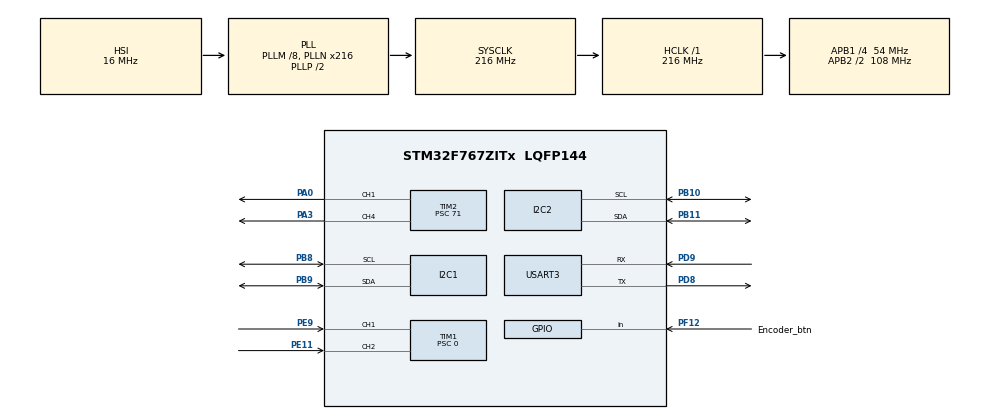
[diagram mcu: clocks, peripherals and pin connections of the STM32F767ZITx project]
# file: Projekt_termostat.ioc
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CORTEX_M7.default_mode_Activation=1
I2C1.Timing=0x20404768
I2C2.Timing=0x20404768
Mcu.Family=STM32F7
Mcu.Name=STM32F767ZITx
Mcu.Package=LQFP144
NVIC.PriorityGroup=NVIC_PRIORITYGROUP_4
NVIC.TIM6_DAC_IRQn=true\:15\:0\:false\:false\:true\:false\:true\:true
NVIC.TimeBase=TIM6_DAC_IRQn
NVIC.TimeBaseIP=TIM6
NVIC.USART3_IRQn=true\:0\:0\:false\:false\:true\:true\:true\:true
PA0/WKUP.Signal=S_TIM2_CH1_ETR
PA3.Signal=S_TIM2_CH4
PB10.GPIO_Pu=GPIO_PULLUP
PB10.Mode=I2C
PB10.Signal=I2C2_SCL
PB11.GPIO_Pu=GPIO_PULLUP
PB11.Mode=I2C
PB11.Signal=I2C2_SDA
PB3.Signal=SYS_JTDO-SWO
PB8.Mode=I2C
PB8.Signal=I2C1_SCL
PB9.Mode=I2C
PB9.Signal=I2C1_SDA
PD8.Mode=Asynchronous
PD8.Signal=USART3_TX
PD9.Mode=Asynchronous
PD9.Signal=USART3_RX
PE11.GPIO_PuPd=GPIO_PULLUP
PE11.Signal=S_TIM1_CH2
PE9.GPIO_PuPd=GPIO_PULLUP
PE9.Signal=S_TIM1_CH1
PF12.GPIO_Label=Encoder_btn
PF12.GPIO_PuPd=GPIO_NOPULL
PF12.Signal=GPIO_Input
PH0/OSC_IN.Mode=HSE-External-Clock-Source
PH0/OSC_IN.Signal=RCC_OSC_IN
PH1/OSC_OUT.Mode=HSE-External-Clock-Source
PH1/OSC_OUT.Signal=RCC_OSC_OUT
ProjectManager.HeapSize=0x200
ProjectManager.StackSize=0x400
ProjectManager.TargetToolchain=STM32CubeIDE
RCC.AHBFreq_Value=216000000
RCC.APB1CLKDivider=RCC_HCLK_DIV4
RCC.APB1Freq_Value=54000000
RCC.APB1TimFreq_Value=108000000
RCC.APB2CLKDivider=RCC_HCLK_DIV2
RCC.APB2Freq_Value=108000000
RCC.APB2TimFreq_Value=216000000
RCC.CortexFreq_Value=216000000
RCC.FLatency-AdvancedSettings=FLASH_LATENCY_7
RCC.HCLKFreq_Value=216000000
RCC.HSE_VALUE=8000000
RCC.HSI_VALUE=16000000
RCC.LSE_VALUE=32768
RCC.PLLM=8
RCC.PLLN=216
RCC.SYSCLKFreq_VALUE=216000000
RCC.SYSCLKSource=RCC_SYSCLKSOURCE_PLLCLK
RCC.USBFreq_Value=216000000
RCC.VCOOutputFreq_Value=432000000
SH.S_TIM1_CH1.0=TIM1_CH1,Encoder_Interface
SH.S_TIM1_CH2.0=TIM1_CH2,Encoder_Interface
SH.S_TIM2_CH1_ETR.0=TIM2_CH1,PWM Generation1 CH1
SH.S_TIM2_CH4.0=TIM2_CH4,PWM Generation4 CH4
TIM1.EncoderMode=TIM_ENCODERMODE_TI12
TIM1.IC1Filter=15
TIM1.IC2Filter=15
TIM1.Prescaler=0
TIM2.Channel-PWM\ Generation1\ CH1=TIM_CHANNEL_1
TIM2.Channel-PWM\ Generation4\ CH4=TIM_CHANNEL_4
TIM2.Period=4999
TIM2.Prescaler=71
USART3.VirtualMode-Asynchronous=VM_ASYNC
VP_SYS_VS_tim6.Mode=TIM6
VP_TIM2_VS_ClockSourceINT.Mode=Internal
board=custom

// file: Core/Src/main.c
/* USER CODE BEGIN Header */
/**
  ******************************************************************************
  * @file           : main.c
  * @brief          : Main program body
  ******************************************************************************
  * @attention
  *
  * Copyright (c) 2026 STMicroelectronics.
  * All rights reserved.
  *
  ******************************************************************************
  */
/* USER CODE END Header */
#include "main.h"

/* USER CODE BEGIN Includes */
#include "bmp280.h"
#include <stdio.h>
#include <stdlib.h>
#include <string.h>
#include "heater.h"
#include "pid_controller.h"
#include "fan.h"
#include "encoder_logic.h"
#include "pid_cooling.h"
#include "i2c-lcd.h"
/* USER CODE END Includes */

/* USER CODE BEGIN PD */
#define LOOP_TIME_MS 100  // Czas cyklu pętli sterowania (10Hz)
/* USER CODE END PD */

I2C_HandleTypeDef hi2c1;
I2C_HandleTypeDef hi2c2;

TIM_HandleTypeDef htim1;
TIM_HandleTypeDef htim2;

UART_HandleTypeDef huart3;

/* USER CODE BEGIN PV */

// --- Urządzenia i Struktury ---
BMP280_HandleTypedef bmp280;
Heater_TypeDef myHeater;
Fan_TypeDef myFan;
UI_StateTypeDef myEncoder;

// --- Kontrolery PID ---
PID_TypeDef hPID;          // Grzanie
PID_Cooling_TypeDef hPID_Cool; // Chłodzenie

// Nastawy PID Grzania
float Kp = 1500.0f;
float Ki = 1.2f;
float Kd = 2850.0f;

// Nastawy PID Chłodzenia
float Kp_c = 600.0f;
float Ki_c = 0.3f;
float Kd_c = 2500.0f;

// --- Zmienne Procesowe ---
float pressure, actual_temp, humidity;
float heating_power;
float sterowanie_fan;
float temp_min = 25.0f;
float temp_max = 38.0f;

int fan_percent;
int heater_percent;

// --- Komunikacja UART ---
uint16_t size;
uint8_t Data[256];      // Bufor nadawczy
uint8_t rx_byte;        // Znak odbierany w przerwaniu
uint8_t rx_buffer[32];  // Bufor komendy
uint8_t rx_index = 0;
volatile uint8_t line_received = 0;

/* USER CODE END PV */

void SystemClock_Config(void);
static void MPU_Config(void);
static void MX_GPIO_Init(void);
static void MX_I2C1_Init(void);
static void MX_USART3_UART_Init(void);
static void MX_TIM2_Init(void);
static void MX_TIM1_Init(void);
static void MX_I2C2_Init(void);
/* USER CODE BEGIN PFP */
uint16_t Calculate_CRC16(uint8_t *data, uint16_t len);
/* USER CODE END PFP */

int main(void)
{

  /* MPU Configuration--------------------------------------------------------*/
  MPU_Config();

  /* MCU Configuration--------------------------------------------------------*/

  /* Reset of all peripherals, Initializes the Flash interface and the Systick. */
  HAL_Init();

  /* Configure the system clock */
  SystemClock_Config();

  /* Initialize all configured peripherals */
  MX_GPIO_Init();
  MX_I2C1_Init();
  MX_USART3_UART_Init();
  MX_TIM2_Init();
  MX_TIM1_Init();
  MX_I2C2_Init();
  /* USER CODE BEGIN 2 */

  // --- Inicjalizacja BMP280 ---
  bmp280_init_default_params(&bmp280.params);
  bmp280.addr = BMP280_I2C_ADDRESS_0;
  bmp280.i2c = &hi2c1;

  while (!bmp280_init(&bmp280, &bmp280.params)) {
      size = sprintf((char *)Data, "BMP280 initialization failed\n");
      HAL_UART_Transmit(&huart3, Data, size, 1000);
      HAL_Delay(2000);
  }

  // --- Inicjalizacja Podzespołów Wykonawczych ---
  Heater_Init(&myHeater, &htim2, TIM_CHANNEL_1, 5000.0f);
  Fan_Init(&myFan, &htim2, TIM_CHANNEL_4, 5000.0f);

  // --- Inicjalizacja Kontrolerów ---
  PID_Init(&hPID, 2200.0f);
  PID_Cooling_Init(&hPID_Cool, 5000.0f);

  // --- Inicjalizacja Interfejsu ---
  HAL_TIM_Encoder_Start(&htim1, TIM_CHANNEL_ALL);
  EncoderInit(&myEncoder, &htim1, Encoder_btn_GPIO_Port, Encoder_btn_Pin, 25.0f, 0.10f, temp_min, temp_max);

  lcd_init();
  lcd_clear();

  // Statyczne napisy na LCD
  lcd_put_cur(0, 0);
  lcd_send_string("T:");
  lcd_put_cur(1, 0);
  lcd_send_string("S:");

  char lcd_buffer[16];

  // Start nasłuchu UART
  HAL_UART_Receive_IT(&huart3, &rx_byte, 1);

  uint32_t loop_timer = HAL_GetTick();

  /* USER CODE END 2 */

  /* Infinite loop */
  while (1)
  {

    /* USER CODE BEGIN 3 */

      // =================================================================
      // OBSŁUGA KOMEND UART
      // =================================================================
      if (line_received) {
          // Kopia bufora i zamiana na DUŻE LITERY
          char clean_cmd[32];
          strcpy(clean_cmd, (char*)rx_buffer);

          for(int i=0; i<strlen(clean_cmd); i++) {
              if(clean_cmd[i] >= 'a' && clean_cmd[i] <= 'z') {
                  clean_cmd[i] -= 32;
              }
          }

          // Szukamy separatora '*' (CRC)
          char *separator = strrchr(clean_cmd, '*');
          uint8_t command_valid = 0;

          if (separator != NULL) {
              // Rozdzielenie komendy i CRC
              *separator = '\0';
              char *crc_part = separator + 1;

              uint16_t calc_crc = Calculate_CRC16((uint8_t*)clean_cmd, strlen(clean_cmd));
              uint16_t recv_crc = (uint16_t)strtol(crc_part, NULL, 16);

              if (calc_crc == recv_crc) {
                  command_valid = 1;
              }
          }

          // Wykonanie komendy
          if (command_valid) {
              if (clean_cmd[0] == 'T') {
                  int raw_val = atoi(&clean_cmd[1]);
                  float new_set_temp = (float)raw_val / 10.0f;

                  if (new_set_temp >= temp_min && new_set_temp <= temp_max) {
                      myEncoder.set_temp = new_set_temp;
                      // Przeliczenie licznika enkodera
                      uint32_t new_counter = (uint32_t)(new_set_temp / 0.10f * 4.0f);
                      __HAL_TIM_SET_COUNTER(&htim1, new_counter);

                      size = sprintf((char *)Data, "CMD OK: Set %.2f C\r\n", new_set_temp);
                  } else {
                      size = sprintf((char *)Data, "CMD ERROR: Range %.1f-%.1f\r\n", temp_min, temp_max);
                  }
              }
              else if (strcmp(clean_cmd, "ON") == 0) {
                  myEncoder.isHeatingEnabled = 1;
                  size = sprintf((char *)Data, "CMD OK: ON\r\n");
              }
              else if (strcmp(clean_cmd, "OFF") == 0) {
                  myEncoder.isHeatingEnabled = 0;
                  size = sprintf((char *)Data, "CMD OK: OFF\r\n");
              }
              else {
                  size = sprintf((char *)Data, "UNKNOWN CMD: [%s]\r\n", clean_cmd);
              }
              HAL_UART_Transmit(&huart3, Data, size, 100);
          }

          // Reset bufora odbiorczego
          line_received = 0;
          memset(rx_buffer, 0, sizeof(rx_buffer));
      }

      // =================================================================
      // PĘTLA STEROWANIA
      // =================================================================
      if (HAL_GetTick() - loop_timer >= LOOP_TIME_MS)
      {
          loop_timer = HAL_GetTick();

          // Odczyt BMP280
          if (!bmp280_read_float(&bmp280, &actual_temp, &pressure, &humidity)) {

          }

          // Obsługa Enkodera (zmiany ręczne)
          EncoderUpdate(&myEncoder);

          // Logika Sterowania (PID)
          if (myEncoder.isHeatingEnabled) {

              // PID Grzania
              heating_power = PID_Calculate(&hPID, myEncoder.set_temp, actual_temp, Kp, Ki, Kd);
              Heater_SetPower(&myHeater, heating_power);

              // PID Chłodzenia
              sterowanie_fan = PID_Cooling_Calculate(&hPID_Cool, myEncoder.set_temp, actual_temp, Kp_c, Ki_c, Kd_c);

              // Minimalne obroty wentylatora (kick-start)
              if (sterowanie_fan > 0.0f && sterowanie_fan < 1000.0f) {
                  sterowanie_fan = 1000.0f;
              } else if (sterowanie_fan == 0.0f) {
                  sterowanie_fan = 0.0f;
              }

              Fan_SetPower(&myFan, sterowanie_fan);
          }
          else {
              // System wyłączony
              hPID.prevError = 0;
              hPID.integral = 0;

              heating_power = 0;
              sterowanie_fan = 0;

              Heater_SetPower(&myHeater, 0.0f);
              Fan_SetPower(&myFan, 0.0f);
          }

          if (myEncoder.isEditMode) {
        	  sprintf(lcd_buffer, "<");
        	  lcd_put_cur(1, 9);
        	  lcd_send_string(lcd_buffer);
          }
          else {
              sprintf(lcd_buffer, " ");
              lcd_put_cur(1, 9);
              lcd_send_string(lcd_buffer);
          }

          // Skalowanie do wyświetlania
          fan_percent = (int)(sterowanie_fan / 50.0f);
          heater_percent = (int)(heating_power / 22.0f);

          // Wysyłanie danych UART (Format stały dla Simulink/Terminala)
          size = sprintf((char *)Data, "$%04d,%04d,%04d,%04d\r\n",
                         (int)(myEncoder.set_temp * 100),
                         (int)(actual_temp * 100),
                         (int)heater_percent,
                         (int)fan_percent);
          HAL_UART_Transmit(&huart3, Data, size, 50);

          // Aktualizacja LCD
          sprintf(lcd_buffer, "%.2f%cC F:%d%% ", actual_temp, 0xDF, fan_percent);
          lcd_put_cur(0, 2);
          lcd_send_string(lcd_buffer);

          sprintf(lcd_buffer, "%.2f%cC", myEncoder.set_temp, 0xDF);
          lcd_put_cur(1, 2);
          lcd_send_string(lcd_buffer);

          sprintf(lcd_buffer, "H:%d%%  ", heater_percent);
          lcd_put_cur(1, 10);
          lcd_send_string(lcd_buffer);
      }
  }
  /* USER CODE END 3 */
}

void SystemClock_Config(void)
{
  RCC_OscInitTypeDef RCC_OscInitStruct = {0};
  RCC_ClkInitTypeDef RCC_ClkInitStruct = {0};

  /** Configure the main internal regulator output voltage
  */
  __HAL_RCC_PWR_CLK_ENABLE();
  __HAL_PWR_VOLTAGESCALING_CONFIG(PWR_REGULATOR_VOLTAGE_SCALE1);

  /** Initializes the RCC Oscillators according to the specified parameters
  * in the RCC_OscInitTypeDef structure.
  */
  RCC_OscInitStruct.OscillatorType = RCC_OSCILLATORTYPE_HSI;
  RCC_OscInitStruct.HSIState = RCC_HSI_ON;
  RCC_OscInitStruct.HSICalibrationValue = RCC_HSICALIBRATION_DEFAULT;
  RCC_OscInitStruct.PLL.PLLState = RCC_PLL_ON;
  RCC_OscInitStruct.PLL.PLLSource = RCC_PLLSOURCE_HSI;
  RCC_OscInitStruct.PLL.PLLM = 8;
  RCC_OscInitStruct.PLL.PLLN = 216;
  RCC_OscInitStruct.PLL.PLLP = RCC_PLLP_DIV2;
  RCC_OscInitStruct.PLL.PLLQ = 2;
  RCC_OscInitStruct.PLL.PLLR = 2;
  if (HAL_RCC_OscConfig(&RCC_OscInitStruct) != HAL_OK)
  {
    Error_Handler();
  }

  /** Activate the Over-Drive mode
  */
  if (HAL_PWREx_EnableOverDrive() != HAL_OK)
  {
    Error_Handler();
  }

  /** Initializes the CPU, AHB and APB buses clocks
  */
  RCC_ClkInitStruct.ClockType = RCC_CLOCKTYPE_HCLK|RCC_CLOCKTYPE_SYSCLK
                              |RCC_CLOCKTYPE_PCLK1|RCC_CLOCKTYPE_PCLK2;
  RCC_ClkInitStruct.SYSCLKSource = RCC_SYSCLKSOURCE_PLLCLK;
  RCC_ClkInitStruct.AHBCLKDivider = RCC_SYSCLK_DIV1;
  RCC_ClkInitStruct.APB1CLKDivider = RCC_HCLK_DIV4;
  RCC_ClkInitStruct.APB2CLKDivider = RCC_HCLK_DIV2;

  if (HAL_RCC_ClockConfig(&RCC_ClkInitStruct, FLASH_LATENCY_7) != HAL_OK)
  {
    Error_Handler();
  }
}

static void MX_I2C1_Init(void)
{

  hi2c1.Instance = I2C1;
  hi2c1.Init.Timing = 0x20404768;
  hi2c1.Init.OwnAddress1 = 0;
  hi2c1.Init.AddressingMode = I2C_ADDRESSINGMODE_7BIT;
  hi2c1.Init.DualAddressMode = I2C_DUALADDRESS_DISABLE;
  hi2c1.Init.OwnAddress2 = 0;
  hi2c1.Init.OwnAddress2Masks = I2C_OA2_NOMASK;
  hi2c1.Init.GeneralCallMode = I2C_GENERALCALL_DISABLE;
  hi2c1.Init.NoStretchMode = I2C_NOSTRETCH_DISABLE;
  if (HAL_I2C_Init(&hi2c1) != HAL_OK)
  {
    Error_Handler();
  }

  /** Configure Analogue filter
  */
  if (HAL_I2CEx_ConfigAnalogFilter(&hi2c1, I2C_ANALOGFILTER_ENABLE) != HAL_OK)
  {
    Error_Handler();
  }

  /** Configure Digital filter
  */
  if (HAL_I2CEx_ConfigDigitalFilter(&hi2c1, 0) != HAL_OK)
  {
    Error_Handler();
  }

}

static void MX_I2C2_Init(void)
{

  hi2c2.Instance = I2C2;
  hi2c2.Init.Timing = 0x20404768;
  hi2c2.Init.OwnAddress1 = 0;
  hi2c2.Init.AddressingMode = I2C_ADDRESSINGMODE_7BIT;
  hi2c2.Init.DualAddressMode = I2C_DUALADDRESS_DISABLE;
  hi2c2.Init.OwnAddress2 = 0;
  hi2c2.Init.OwnAddress2Masks = I2C_OA2_NOMASK;
  hi2c2.Init.GeneralCallMode = I2C_GENERALCALL_DISABLE;
  hi2c2.Init.NoStretchMode = I2C_NOSTRETCH_DISABLE;
  if (HAL_I2C_Init(&hi2c2) != HAL_OK)
  {
    Error_Handler();
  }

  /** Configure Analogue filter
  */
  if (HAL_I2CEx_ConfigAnalogFilter(&hi2c2, I2C_ANALOGFILTER_ENABLE) != HAL_OK)
  {
    Error_Handler();
  }

  /** Configure Digital filter
  */
  if (HAL_I2CEx_ConfigDigitalFilter(&hi2c2, 0) != HAL_OK)
  {
    Error_Handler();
  }

}

static void MX_TIM1_Init(void)
{

  TIM_Encoder_InitTypeDef sConfig = {0};
  TIM_MasterConfigTypeDef sMasterConfig = {0};

  htim1.Instance = TIM1;
  htim1.Init.Prescaler = 0;
  htim1.Init.CounterMode = TIM_COUNTERMODE_UP;
  htim1.Init.Period = 65535;
  htim1.Init.ClockDivision = TIM_CLOCKDIVISION_DIV1;
  htim1.Init.RepetitionCounter = 0;
  htim1.Init.AutoReloadPreload = TIM_AUTORELOAD_PRELOAD_DISABLE;
  sConfig.EncoderMode = TIM_ENCODERMODE_TI12;
  sConfig.IC1Polarity = TIM_ICPOLARITY_RISING;
  sConfig.IC1Selection = TIM_ICSELECTION_DIRECTTI;
  sConfig.IC1Prescaler = TIM_ICPSC_DIV1;
  sConfig.IC1Filter = 15;
  sConfig.IC2Polarity = TIM_ICPOLARITY_RISING;
  sConfig.IC2Selection = TIM_ICSELECTION_DIRECTTI;
  sConfig.IC2Prescaler = TIM_ICPSC_DIV1;
  sConfig.IC2Filter = 15;
  if (HAL_TIM_Encoder_Init(&htim1, &sConfig) != HAL_OK)
  {
    Error_Handler();
  }
  sMasterConfig.MasterOutputTrigger = TIM_TRGO_RESET;
  sMasterConfig.MasterOutputTrigger2 = TIM_TRGO2_RESET;
  sMasterConfig.MasterSlaveMode = TIM_MASTERSLAVEMODE_DISABLE;
  if (HAL_TIMEx_MasterConfigSynchronization(&htim1, &sMasterConfig) != HAL_OK)
  {
    Error_Handler();
  }

}

static void MX_TIM2_Init(void)
{

  TIM_ClockConfigTypeDef sClockSourceConfig = {0};
  TIM_MasterConfigTypeDef sMasterConfig = {0};
  TIM_OC_InitTypeDef sConfigOC = {0};

  htim2.Instance = TIM2;
  htim2.Init.Prescaler = 71;
  htim2.Init.CounterMode = TIM_COUNTERMODE_UP;
  htim2.Init.Period = 4999;
  htim2.Init.ClockDivision = TIM_CLOCKDIVISION_DIV1;
  htim2.Init.AutoReloadPreload = TIM_AUTORELOAD_PRELOAD_DISABLE;
  if (HAL_TIM_Base_Init(&htim2) != HAL_OK)
  {
    Error_Handler();
  }
  sClockSourceConfig.ClockSource = TIM_CLOCKSOURCE_INTERNAL;
  if (HAL_TIM_ConfigClockSource(&htim2, &sClockSourceConfig) != HAL_OK)
  {
    Error_Handler();
  }
  if (HAL_TIM_PWM_Init(&htim2) != HAL_OK)
  {
    Error_Handler();
  }
  sMasterConfig.MasterOutputTrigger = TIM_TRGO_RESET;
  sMasterConfig.MasterSlaveMode = TIM_MASTERSLAVEMODE_DISABLE;
  if (HAL_TIMEx_MasterConfigSynchronization(&htim2, &sMasterConfig) != HAL_OK)
  {
    Error_Handler();
  }
  sConfigOC.OCMode = TIM_OCMODE_PWM1;
  sConfigOC.Pulse = 0;
  sConfigOC.OCPolarity = TIM_OCPOLARITY_HIGH;
  sConfigOC.OCFastMode = TIM_OCFAST_DISABLE;
  if (HAL_TIM_PWM_ConfigChannel(&htim2, &sConfigOC, TIM_CHANNEL_1) != HAL_OK)
  {
    Error_Handler();
  }
  if (HAL_TIM_PWM_ConfigChannel(&htim2, &sConfigOC, TIM_CHANNEL_4) != HAL_OK)
  {
    Error_Handler();
  }
  HAL_TIM_MspPostInit(&htim2);

}

static void MX_USART3_UART_Init(void)
{

  huart3.Instance = USART3;
  huart3.Init.BaudRate = 115200;
  huart3.Init.WordLength = UART_WORDLENGTH_8B;
  huart3.Init.StopBits = UART_STOPBITS_1;
  huart3.Init.Parity = UART_PARITY_NONE;
  huart3.Init.Mode = UART_MODE_TX_RX;
  huart3.Init.HwFlowCtl = UART_HWCONTROL_NONE;
  huart3.Init.OverSampling = UART_OVERSAMPLING_16;
  huart3.Init.OneBitSampling = UART_ONE_BIT_SAMPLE_DISABLE;
  huart3.AdvancedInit.AdvFeatureInit = UART_ADVFEATURE_NO_INIT;
  if (HAL_UART_Init(&huart3) != HAL_OK)
  {
    Error_Handler();
  }

}

static void MX_GPIO_Init(void)
{
  GPIO_InitTypeDef GPIO_InitStruct = {0};

  /* GPIO Ports Clock Enable */
  __HAL_RCC_GPIOH_CLK_ENABLE();
  __HAL_RCC_GPIOA_CLK_ENABLE();
  __HAL_RCC_GPIOF_CLK_ENABLE();
  __HAL_RCC_GPIOE_CLK_ENABLE();
  __HAL_RCC_GPIOB_CLK_ENABLE();
  __HAL_RCC_GPIOD_CLK_ENABLE();

  /*Configure GPIO pin : Encoder_btn_Pin */
  GPIO_InitStruct.Pin = Encoder_btn_Pin;
  GPIO_InitStruct.Mode = GPIO_MODE_INPUT;
  GPIO_InitStruct.Pull = GPIO_NOPULL;
  HAL_GPIO_Init(Encoder_btn_GPIO_Port, &GPIO_InitStruct);

}

/* USER CODE BEGIN 4 */
void HAL_UART_RxCpltCallback(UART_HandleTypeDef *huart)
{
    if (huart->Instance == USART3) {
        if (rx_byte == '\n' || rx_byte == '\r') {
            if (rx_index > 0) {
                rx_buffer[rx_index] = '\0';
                line_received = 1;
                rx_index = 0;
            }
        }
        else {
            if (rx_index < sizeof(rx_buffer) - 1) {
                rx_buffer[rx_index++] = rx_byte;
            }
        }
        HAL_UART_Receive_IT(&huart3, &rx_byte, 1);
    }
}

void HAL_UART_ErrorCallback(UART_HandleTypeDef *huart)
{
    if (huart->Instance == USART3) {
        HAL_UART_Receive_IT(&huart3, &rx_byte, 1);
    }
}

uint16_t Calculate_CRC16(uint8_t *data, uint16_t len)
{
    uint16_t crc = 0; // Start od 0 (dla wyniku B4B5)

    for (uint16_t i = 0; i < len; i++) {
        crc ^= data[i]; // XOR bajtu danych

        for (uint8_t j = 0; j < 8; j++) {
            // Algorytm LSB (odwrócony) - standard Modbus/ARC
            if (crc & 0x0001) {
                crc >>= 1;
                crc ^= 0xA001; // Wielomian
            } else {
                crc >>= 1;
            }
        }
    }
    return crc;
}
/* USER CODE END 4 */

 /* MPU Configuration */

void MPU_Config(void)
{
  MPU_Region_InitTypeDef MPU_InitStruct = {0};

  /* Disables the MPU */
  HAL_MPU_Disable();

  /** Initializes and configures the Region and the memory to be protected
  */
  MPU_InitStruct.Enable = MPU_REGION_ENABLE;
  MPU_InitStruct.Number = MPU_REGION_NUMBER0;
  MPU_InitStruct.BaseAddress = 0x0;
  MPU_InitStruct.Size = MPU_REGION_SIZE_4GB;
  MPU_InitStruct.SubRegionDisable = 0x87;
  MPU_InitStruct.TypeExtField = MPU_TEX_LEVEL0;
  MPU_InitStruct.AccessPermission = MPU_REGION_NO_ACCESS;
  MPU_InitStruct.DisableExec = MPU_INSTRUCTION_ACCESS_DISABLE;
  MPU_InitStruct.IsShareable = MPU_ACCESS_SHAREABLE;
  MPU_InitStruct.IsCacheable = MPU_ACCESS_NOT_CACHEABLE;
  MPU_InitStruct.IsBufferable = MPU_ACCESS_NOT_BUFFERABLE;

  HAL_MPU_ConfigRegion(&MPU_InitStruct);
  /* Enables the MPU */
  HAL_MPU_Enable(MPU_PRIVILEGED_DEFAULT);

}

void HAL_TIM_PeriodElapsedCallback(TIM_HandleTypeDef *htim)
{
  if (htim->Instance == TIM6)
  {
    HAL_IncTick();
  }
}

void Error_Handler(void)
{
  __disable_irq();
  while (1)
  {
  }
}
